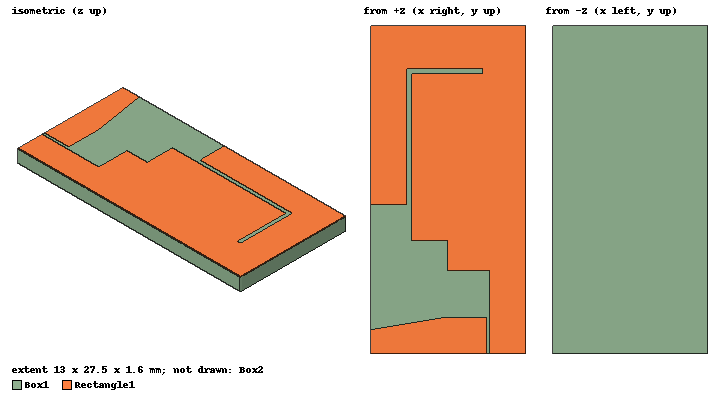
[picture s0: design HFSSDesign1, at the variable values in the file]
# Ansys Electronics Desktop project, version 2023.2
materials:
  vacuum: permittivity=1
  FR4_epoxy: permittivity=4.4 dielectric_loss_tangent=0.02

design HFSSDesign1 (HFSS, HFSS Terminal Network, model units mm)
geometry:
  Box1 [FR4_epoxy] = box(corner=(-6.5mm, -13.75mm, 0mm), size=(13mm, 27.5mm, 1.6mm))
  Rectangle1 = rectangle(corner=(-6.5mm, -13.75mm, 1.6mm), x_size=13mm, y_size=27.5mm)
  Rectangle2 = rectangle(corner=(-6.5mm, -10.75mm, 1.6mm), x_size=3mm, y_size=9.5mm)
  Rectangle1.subtract(Rectangle2)
  Rectangle3 = rectangle(corner=(3.2mm, -13.75mm, 1.6mm), x_size=0.3mm, y_size=7mm)
  Rectangle1.subtract(Rectangle3)
  Rectangle4 = rectangle(corner=(-6.5mm, -10.75mm, 1.6mm), x_size=10mm, y_size=4mm)
  Rectangle1.subtract(Rectangle4)
  Rectangle5 = rectangle(corner=(-3.5mm, -6.75mm, 1.6mm), x_size=0.4mm, y_size=16.9mm)
  Rectangle6 = rectangle(corner=(-3.5mm, 9.75mm, 1.6mm), x_size=6.4mm, y_size=0.4mm)
  Rectangle7 = rectangle(corner=(-3.1mm, -6.75mm, 1.6mm), x_size=3.1mm, y_size=2.5mm)
  Rectangle1.subtract(Rectangle5)
  Rectangle1.subtract(Rectangle6)
  Rectangle1.subtract(Rectangle7)
  Polyline3 = polyline(z=1.6mm, xy in mm: (-6.5, -11.75) (-0.5, -10.75) (-6.5, -10.75) (-6.5, -11.75), closed, covered)
  Rectangle1.subtract(Polyline3)
  Box2 [vacuum] = box(corner=(-39mm, -46mm, -32mm), size=(78mm, 92mm, 66mm))
  Rectangle8 = rectangle(corner=((-13/2) mm, -13.75mm, 1.6mm), z_size=-1.6mm, x_size=13mm)
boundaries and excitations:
  PerfE1: Perfect E Objects=Rectangle1
  Rad1: Radiation Objects=Box2
  1: Lumped Port Objects=Rectangle8 LumpedPortType=Modal Modes{Mode1{IntLine{(-6.5, -13.75, 0.8) -> (6.5, -13.75, 0.8)} CharImp=Zpi}} Impedance=50ohm
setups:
  Setup1: HfssDriven Frequency=5GHz MaxDeltaS=0.02 MaximumPasses=6 MinimumPasses=1 MinimumConvergedPasses=1 PercentRefinement=30 BasisOrder=1 PortAccuracy=2 DrivenSolverType="Direct Solver"
    sweep Sweep: 2GHz to 7GHz, 401 points; Type=Discrete SaveFields
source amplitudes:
  1:1: 1V 0deg
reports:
  S Parameter Plot 1: dB(S(1,1)) vs Freq on Setup1 : Sweep; markers m1 at 2.425GHz, m2 at 3.575GHz
